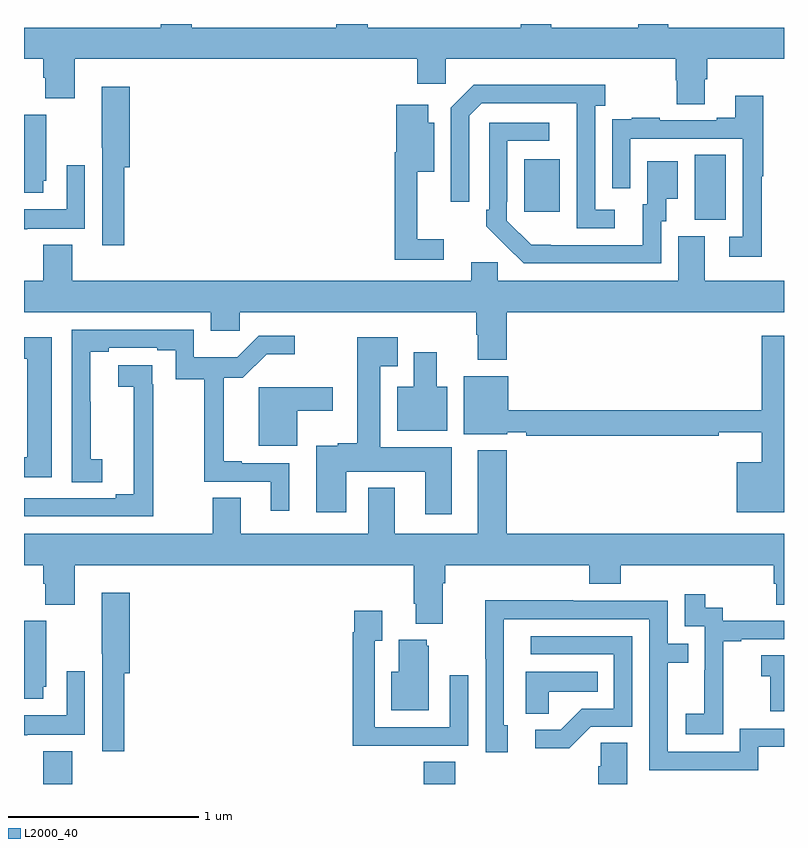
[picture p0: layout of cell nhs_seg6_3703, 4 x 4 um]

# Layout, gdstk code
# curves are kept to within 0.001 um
import gdstk
lib = gdstk.Library(unit=1e-6, precision=1e-09)
def R(c, l, rs):  # rectangles x0, y0, x1, y1
    for r in rs: c.add(gdstk.rectangle(r[:2], r[2:], *l))
def P(c, l, *ps):  # polygons
    for p in ps: c.add(gdstk.Polygon(p, *l))
L2000_40 = (2000, 40)

nhs_seg6_3703 = lib.new_cell('nhs_seg6_3703')
R(nhs_seg6_3703, L2000_40, [(327.101,963.5,327.253,963.673), (329.105,963.5,329.27,963.617), (330.53,966.469,330.694,966.812), (329.633,966.513,329.821,966.787)])
P(nhs_seg6_3703, L2000_40, [(330.583,967.21),(330.596,967.21),(330.596,967.316),(331,967.316),(331,967.48),(330.392,967.48),(330.392,967.5),(330.232,967.5),(330.232,967.48),(329.775,967.48),(329.775,967.5),(329.615,967.5),(329.615,967.48),(328.808,967.48),(328.808,967.5),(328.643,967.5),(328.643,967.48),(327.884,967.48),(327.884,967.5),(327.719,967.5),(327.719,967.48),(327,967.48),(327,967.316),(327.101,967.316),(327.101,967.217),(327.113,967.217),(327.113,967.108),(327.266,967.108),(327.266,967.316),(329.069,967.316),(329.069,967.185),(329.22,967.185),(329.22,967.316),(330.431,967.316),(330.431,967.203),(330.436,967.203),(330.436,967.078),(330.583,967.078)],
  [(330.109,966.522),(330.006,966.522),(330.006,967.07),(330.058,967.07),(330.058,967.18),(329.368,967.18),(329.247,967.059),(329.247,966.564),(329.343,966.564),(329.343,967.017),(329.409,967.083),(329.909,967.083),(329.91,966.426),(330.109,966.426)],
  [(327.527,966.746),(327.557,966.746),(327.557,967.171),(327.41,967.171),(327.41,966.85),(327.411,966.85),(327.411,966.336),(327.527,966.336)],
  [(330.884,966.699),(330.892,966.699),(330.892,967.123),(330.743,967.123),(330.743,967.006),(330.647,967.006),(330.647,966.993),(330.347,966.993),(330.347,967.006),(330.199,967.006),(330.199,966.999),(330.097,966.999),(330.097,966.89),(330.096,966.89),(330.096,966.636),(330.192,966.636),(330.192,966.897),(330.783,966.897),(330.783,966.381),(330.711,966.381),(330.711,966.276),(330.884,966.276)],
  [(329.209,966.367),(329.069,966.367),(329.069,966.722),(329.158,966.722),(329.158,966.979),(329.128,966.979),(329.128,967.075),(328.958,967.075),(328.958,966.826),(328.951,966.826),(328.951,966.258),(329.209,966.258)],
  [(327.1,966.675),(327.118,966.675),(327.118,967.023),(327,967.023),(327,966.612),(327.1,966.612)],
  [(330.354,966.462),(330.379,966.462),(330.379,966.581),(330.442,966.581),(330.442,966.778),(330.281,966.778),(330.281,966.552),(330.257,966.552),(330.257,966.336),(329.67,966.337),(329.541,966.465),(329.541,966.565),(329.544,966.565),(329.544,966.885),(329.764,966.885),(329.764,966.981),(329.448,966.981),(329.448,966.523),(329.433,966.523),(329.433,966.435),(329.63,966.24),(330.354,966.24)],
  [(327.017,966.422),(327.321,966.422),(327.321,966.757),(327.225,966.757),(327.225,966.526),(327,966.526),(327,966.42),(327.017,966.42)],
  [(329.54,965.984),(331,965.984),(331,966.148),(330.583,966.148),(330.583,966.384),(330.443,966.384),(330.443,966.148),(329.493,966.148),(329.493,966.246),(329.354,966.246),(329.354,966.148),(327.253,966.148),(327.253,966.337),(327.101,966.337),(327.101,966.148),(327,966.148),(327,965.984),(327.983,965.984),(327.983,965.886),(328.135,965.886),(328.135,965.984),(329.38,965.984),(329.38,965.864),(329.387,965.864),(329.387,965.732),(329.54,965.732)],
  [(328.396,965.187),(328.147,965.187),(328.147,965.2),(328.052,965.2),(328.052,965.637),(328.151,965.637),(328.277,965.762),(328.426,965.762),(328.426,965.859),(328.236,965.859),(328.123,965.746),(327.894,965.746),(327.894,965.892),(327.252,965.892),(327.252,965.089),(327.412,965.089),(327.412,965.209),(327.351,965.209),(327.351,965.513),(327.349,965.513),(327.349,965.776),(327.445,965.776),(327.445,965.796),(327.701,965.796),(327.701,965.782),(327.798,965.782),(327.798,965.629),(327.949,965.629),(327.949,965.091),(328.298,965.091),(328.298,964.938),(328.396,964.938)],
  [(331,965.86),(330.882,965.86),(330.882,965.468),(329.548,965.468),(329.548,965.647),(329.315,965.647),(329.315,965.342),(329.544,965.342),(329.544,965.352),(329.644,965.352),(329.644,965.332),(330.656,965.332),(330.656,965.351),(330.882,965.351),(330.882,965.194),(330.752,965.194),(330.752,964.931),(331,964.931)],
  [(329.251,965.272),(328.876,965.272),(328.876,965.699),(328.966,965.699),(328.966,965.851),(328.754,965.851),(328.754,965.294),(328.65,965.294),(328.65,965.281),(328.538,965.281),(328.538,964.929),(328.696,964.929),(328.696,965.144),(329.111,965.144),(329.111,964.92),(329.251,964.92)],
  [(327.145,965.851),(327,965.851),(327,965.739),(327.017,965.739),(327.017,965.22),(327,965.22),(327,965.115),(327.145,965.115)],
  [(329.227,965.59),(329.173,965.59),(329.173,965.773),(329.051,965.773),(329.051,965.59),(328.964,965.59),(328.964,965.36),(329.227,965.36)],
  [(327.68,965.603),(327.674,965.603),(327.674,965.705),(327.495,965.705),(327.495,965.59),(327.577,965.59),(327.577,965.307),(327.578,965.307),(327.578,965.024),(327.482,965.024),(327.482,965.004),(327,965.004),(327,964.908),(327.68,964.908)],
  [(328.438,965.465),(328.624,965.465),(328.624,965.589),(328.235,965.589),(328.235,965.279),(328.438,965.279)],
  [(329.203,964.556),(329.216,964.556),(329.216,964.652),(329.975,964.652),(329.975,964.553),(330.14,964.553),(330.14,964.652),(330.947,964.652),(330.947,964.554),(330.959,964.554),(330.959,964.444),(331,964.444),(331,964.816),(329.54,964.816),(329.54,965.257),(329.387,965.257),(329.387,964.816),(328.951,964.816),(328.951,965.059),(328.811,965.059),(328.811,964.816),(328.141,964.816),(328.141,965.006),(327.994,965.006),(327.994,964.816),(327,964.816),(327,964.652),(327.101,964.652),(327.101,964.553),(327.113,964.553),(327.113,964.444),(327.266,964.444),(327.266,964.652),(329.051,964.652),(329.051,964.45),(329.063,964.45),(329.063,964.343),(329.203,964.343)],
  [(327.527,964.082),(327.557,964.082),(327.557,964.507),(327.41,964.507),(327.41,964.186),(327.411,964.186),(327.411,963.672),(327.527,963.672)],
  [(330.681,963.967),(330.68,963.967),(330.68,964.251),(330.775,964.251),(330.775,964.263),(331,964.263),(331,964.359),(330.678,964.359),(330.678,964.428),(330.586,964.428),(330.586,964.498),(330.477,964.498),(330.477,964.329),(330.582,964.329),(330.582,964.1),(330.581,964.1),(330.581,963.871),(330.483,963.871),(330.483,963.761),(330.681,963.761)],
  [(330.865,963.696),(331,963.696),(331,963.792),(330.768,963.792),(330.768,963.669),(330.387,963.669),(330.387,964.138),(330.497,964.138),(330.497,964.239),(330.387,964.239),(330.387,964.464),(329.891,964.464),(329.891,964.466),(329.428,964.466),(329.428,964.159),(329.43,964.159),(329.43,963.666),(329.545,963.666),(329.545,963.81),(329.526,963.81),(329.526,964.368),(330.291,964.368),(330.291,963.573),(330.865,963.573)],
  [(329.021,963.702),(329.337,963.702),(329.337,964.072),(329.241,964.072),(329.241,963.798),(328.845,963.798),(328.845,964.255),(328.885,964.255),(328.885,964.411),(328.737,964.411),(328.737,964.298),(328.729,964.298),(328.729,963.701),(329.021,963.701)],
  [(327.1,964.011),(327.118,964.011),(327.118,964.359),(327,964.359),(327,963.948),(327.1,963.948)],
  [(329.982,963.801),(330.201,963.801),(330.201,964.278),(329.667,964.278),(329.667,964.182),(330.105,964.182),(330.105,963.897),(329.936,963.897),(329.825,963.786),(329.691,963.786),(329.691,963.689),(329.869,963.689)],
  [(329.131,964.227),(329.12,964.227),(329.12,964.258),(328.973,964.258),(328.973,964.09),(328.934,964.09),(328.934,963.887),(329.131,963.887)],
  [(331,964.177),(330.879,964.177),(330.879,964.067),(330.928,964.067),(330.928,963.882),(331,963.882)],
  [(327.017,963.758),(327.321,963.758),(327.321,964.093),(327.225,964.093),(327.225,963.862),(327,963.862),(327,963.756),(327.017,963.756)],
  [(329.763,963.986),(330.02,963.986),(330.02,964.09),(329.642,964.09),(329.642,963.871),(329.763,963.871)],
  [(330.175,963.716),(330.036,963.716),(330.036,963.593),(330.023,963.593),(330.023,963.5),(330.175,963.5)])

lib.write_gds('nhs_seg6_3703.gds')
